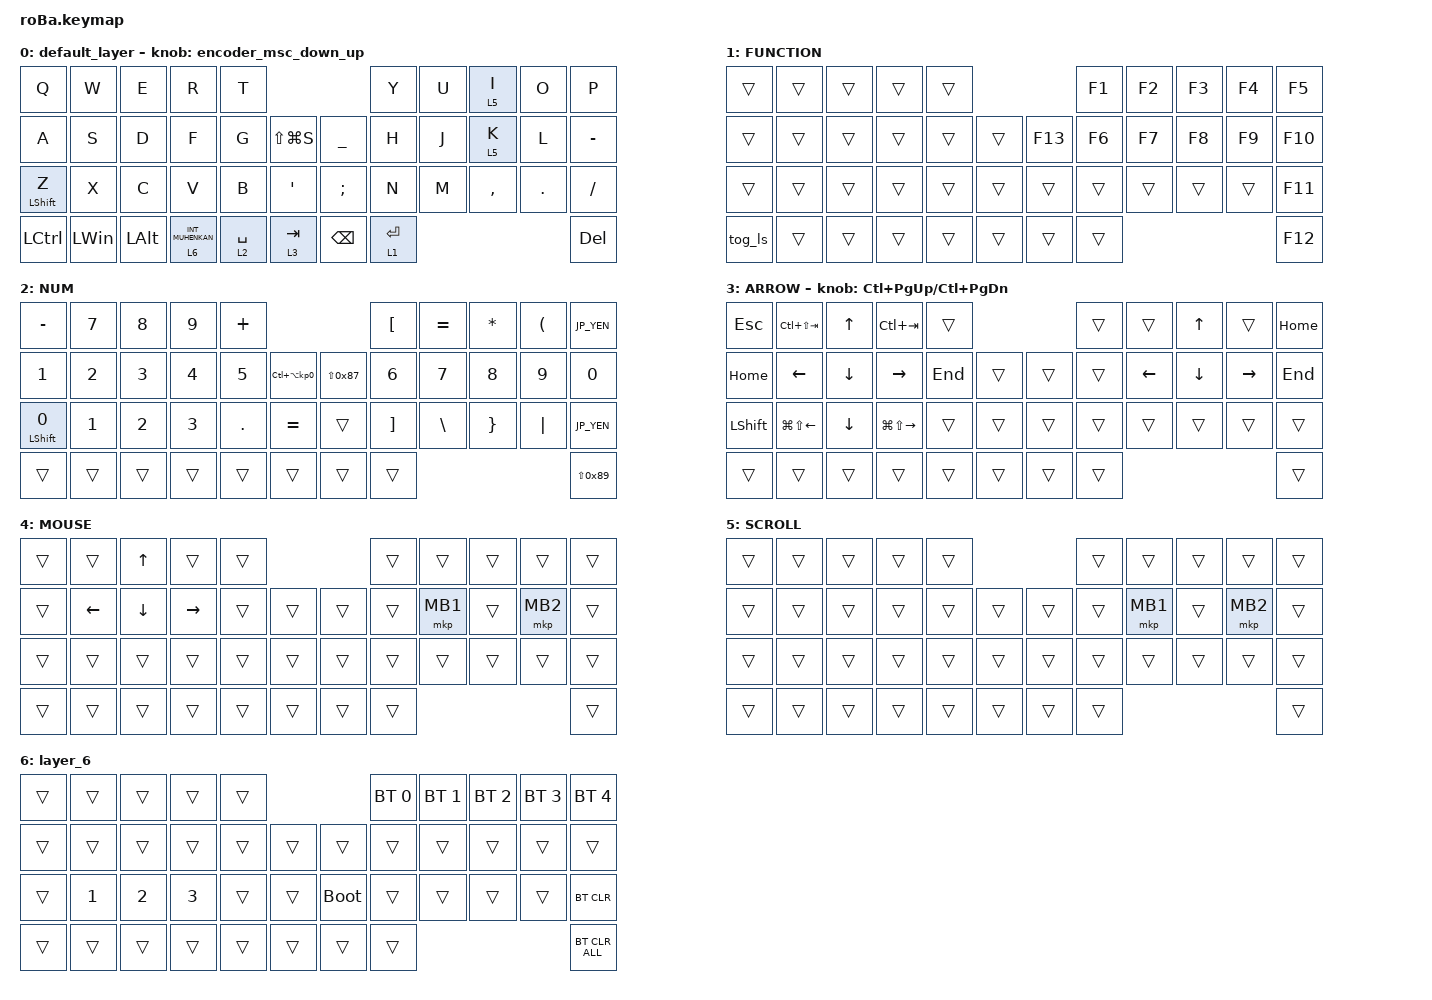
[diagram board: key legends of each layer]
#include <layout_shift.dtsi>
#include <behaviors.dtsi>
#include <dt-bindings/zmk/bt.h>
#include <dt-bindings/zmk/keys.h>
#include <dt-bindings/zmk/pointing.h>

#include <layout_shift_kp_override.dtsi>

#define ZMK_POINTING_DEFAULT_SCRL_VAL 80

#define JP_DOUBLE_QUOTES       AT                // "
#define JP_AMPERSAND           CARET             // &
#define JP_SINGLE_QUOTE        AMPERSAND         // '
#define JP_EQUAL               UNDER             // =
#define JP_CARET               EQUAL             // ^
#define JP_YEN                 0x89              // ¥
#define JP_PLUS                COLON             // +
#define JP_TILDE               PLUS              // ~
#define JP_PIPE                LS(0x89)          // |
#define JP_AT                  LEFT_BRACKET      // @
#define JP_COLON               SINGLE_QUOTE      // :
#define JP_ASTERISK            DOUBLE_QUOTES     // *
#define JP_BACKQUOTE           LEFT_BRACE        // `
#define JP_UNDER               LS(0x87)          // _
#define JP_LEFT_BRACKET        RIGHT_BRACKET     // [
#define JP_RIGHT_BRACKET       BACKSLASH         // ]
#define JP_LEFT_PARENTHESIS    ASTERISK          // (
#define JP_RIGHT_PARENTHESIS   LEFT_PARENTHESIS  // )
#define JP_LEFT_BRACE          RIGHT_BRACE       // {
#define JP_RIGHT_BRACE         PIPE              // }
#define JP_KANA                LANGUAGE_1        // かな
#define JP_EISU                LANGUAGE_2        // 英数
#define JP_HANZEN              GRAVE             // 半角/全角

&mt {
    flavor = "balanced";
    quick-tap-ms = <0>;
};

&trackball {
    automouse-layer = <4>;
    scroll-layers = <5>;

    arrows {
        layers = <3>;
        bindings =
            <&kp RIGHT_ARROW>,
            <&kp LEFT_ARROW>,
            <&kp UP_ARROW>,
            <&kp DOWN_ARROW>;

        tick = <10>;
        wait-ms = <5>;
        tap-ms = <5>;
    };
};

/ {
    combos {
        compatible = "zmk,combos";

        double_quotation {
            bindings = <&kp DOUBLE_QUOTES>;
            key-positions = <20 21>;
        };

        eq {
            bindings = <&kp EQUAL>;
            key-positions = <24 25>;
        };
    };

    macros {
        to_layer_0: to_layer_0 {
            compatible = "zmk,behavior-macro-one-param";
            #binding-cells = <1>;
            bindings = <&to 0 &macro_param_1to1 &kp MACRO_PLACEHOLDER>;
            label = "TO_LAYER_0";
        };
    };

    behaviors {
        lt_to_layer_0: lt_to_layer_0 {
            compatible = "zmk,behavior-hold-tap";
            label = "LAYER_TAP_TO_0";
            bindings = <&mo>, <&to_layer_0>;

            #binding-cells = <2>;
            tapping-term-ms = <200>;
        };

        encoder_msc_down_up: encoder_msc_down_up {
            compatible = "zmk,behavior-sensor-rotate";
            label = "ENCODER_MSC_DOWN_UP";
            #sensor-binding-cells = <0>;
            bindings = <&msc SCRL_DOWN>, <&msc SCRL_UP>;

            tap-ms = <20>;
        };
    };

    keymap {
        compatible = "zmk,keymap";

        default_layer {
            bindings = <
&kp Q             &kp W         &kp E         &kp R                          &kp T                                                 &kp Y        &kp U  &lt 5 I    &kp O    &kp P
&kp A             &kp S         &kp D         &kp F                          &kp G        &kp LS(LG(S))             &kp JP_EQUAL   &kp H        &kp J  &lt 5 K    &kp L    &kp MINUS
&mt LEFT_SHIFT Z  &kp X         &kp C         &kp V                          &kp B        &kp SINGLE_QUOTE          &kp SEMICOLON  &kp N        &kp M  &kp COMMA  &kp DOT  &kp SLASH
&kp LCTRL         &kp LEFT_WIN  &kp LEFT_ALT  &lt_to_layer_0 6 INT_MUHENKAN  &lt 2 SPACE  &lt_to_layer_0 3 TAB      &kp BACKSPACE  &lt 1 ENTER                             &kp DEL
            >;

            //sensor-bindings = <&inc_dec_kp PG_UP PAGE_DOWN>;

            sensor-bindings = <&encoder_msc_down_up>;
        };

        FUNCTION {
            bindings = <
&trans   &trans  &trans  &trans  &trans                       &kp F1  &kp F2  &kp F3  &kp F4  &kp F5
&trans   &trans  &trans  &trans  &trans  &trans      &kp F13  &kp F6  &kp F7  &kp F8  &kp F9  &kp F10
&trans   &trans  &trans  &trans  &trans  &trans      &trans   &trans  &trans  &trans  &trans  &kp F11
&tog_ls  &trans  &trans  &trans  &trans  &trans      &trans   &trans                          &kp F12
            >;
        };

        NUM {
            bindings = <
&kp MINUS                &kp NUMBER_7  &kp NUMBER_8  &kp NUMBER_9  &kp PLUS                                                   &kp LEFT_BRACKET  &kp JP_CARET   &kp JP_LEFT_PARENTHESIS       &kp JP_RIGHT_PARENTHESIS  &kp JP_YEN
&kp NUMBER_1             &kp NUMBER_2  &kp NUMBER_3  &kp NUMBER_4  &kp NUMBER_5  &kp LC(LA(KP_NUMBER_0))      &kp JP_UNDER    &kp NUMBER_6      &kp NUMBER_7       &kp NUMBER_8    &kp NUMBER_9          &kp NUMBER_0
&mt LEFT_SHIFT NUMBER_0  &kp NUMBER_1  &kp NUMBER_2  &kp NUMBER_3  &kp PERIOD    &kp EQUAL                    &trans          &kp JP_LEFT_BRACKET  &kp JP_RIGHT_BRACKET  &kp JP_LEFT_BRACE  &kp JP_RIGHT_BRACE       &kp JP_YEN
&trans                   &trans        &trans        &trans        &trans        &trans                       &trans          &trans                                                                     &kp JP_PIPE
            >;
        };

        ARROW {
            bindings = <
&kp ESCAPE      &kp LC(LS(TAB))         &kp UP_ARROW    &kp LC(TAB)              &trans                       &trans  &trans          &kp UP_ARROW    &trans           &kp HOME
&kp HOME        &kp LEFT_ARROW          &kp DOWN_ARROW  &kp RIGHT_ARROW          &kp END  &trans      &trans  &trans  &kp LEFT_ARROW  &kp DOWN_ARROW  &kp RIGHT_ARROW  &kp END
&kp LEFT_SHIFT  &kp LG(LS(LEFT_ARROW))  &kp DOWN_ARROW  &kp LG(LS(RIGHT_ARROW))  &trans   &trans      &trans  &trans  &trans          &trans          &trans           &trans
&trans          &trans                  &trans          &trans                   &trans   &trans      &trans  &trans                                                   &trans
            >;

            sensor-bindings = <&inc_dec_kp LC(PAGE_UP) LC(PAGE_DOWN)>;
        };

        MOUSE {
            bindings = <
&trans  &trans          &kp UP_ARROW    &trans           &trans                      &trans  &trans    &trans  &trans    &trans
&trans  &kp LEFT_ARROW  &kp DOWN_ARROW  &kp RIGHT_ARROW  &trans  &trans      &trans  &trans  &mkp MB1  &trans  &mkp MB2  &trans
&trans  &trans          &trans          &trans           &trans  &trans      &trans  &trans  &trans    &trans  &trans    &trans
&trans  &trans          &trans          &trans           &trans  &trans      &trans  &trans                              &trans
            >;
        };

        SCROLL {
            bindings = <
&trans  &trans  &trans  &trans  &trans                      &trans  &trans    &trans  &trans    &trans
&trans  &trans  &trans  &trans  &trans  &trans      &trans  &trans  &mkp MB1  &trans  &mkp MB2  &trans
&trans  &trans  &trans  &trans  &trans  &trans      &trans  &trans  &trans    &trans  &trans    &trans
&trans  &trans  &trans  &trans  &trans  &trans      &trans  &trans                              &trans
            >;
        };

        layer_6 {
            bindings = <
&trans  &trans        &trans        &trans        &trans                           &bt BT_SEL 0  &bt BT_SEL 1  &bt BT_SEL 2  &bt BT_SEL 3  &bt BT_SEL 4
&trans  &trans        &trans        &trans        &trans  &trans      &trans       &trans        &trans        &trans        &trans        &trans
&trans  &kp NUMBER_1  &kp NUMBER_2  &kp NUMBER_3  &trans  &trans      &bootloader  &trans        &trans        &trans        &trans        &bt BT_CLR
&trans  &trans        &trans        &trans        &trans  &trans      &trans       &trans                                                  &bt BT_CLR_ALL
            >;
        };
    };
};
